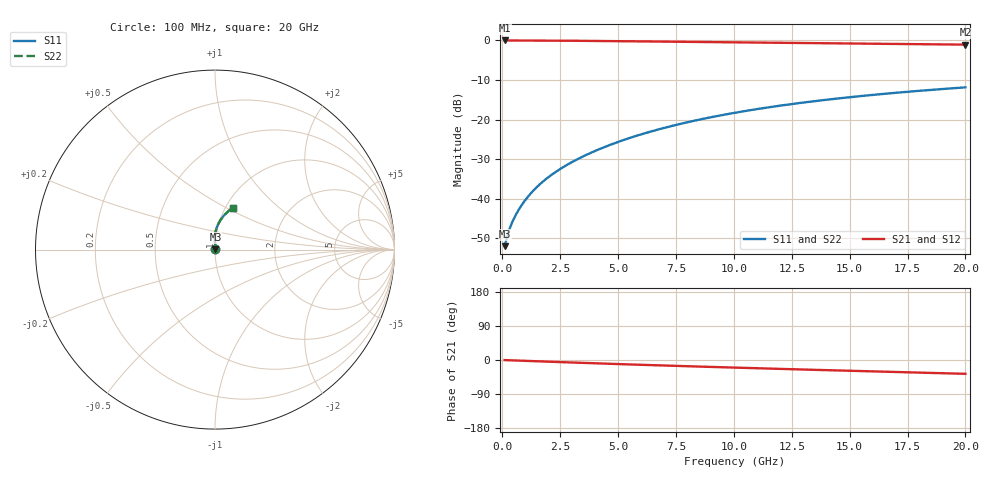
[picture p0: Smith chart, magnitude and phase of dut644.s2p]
! Touchstone file exported from HFSS 2024.1.0
!  File:  C:/UserFiles/LocalFiles/RDL_TSV_Batchsim/temp_RDL_top_644_1779781102.aedt
!  Generated:  03:40:25 PM May 26, 2026
!  Design:  RDL_top
!  Project:  temp_RDL_top_644_1779781102
!  Setup:  Setup1
!  Solution:  Sweep
! Variables:
!  dtsv = 10.80580581um
!  hbump = 3um
!  htsv = 86.95um
!  ldown = 100um
!  lrdl = 570.76um
!  p = 40
!  p1 = 45.16um
!  rhole = 1um
!  t = 450um
!  tdown = 3.915915916um
!  trdl = 3.72um
!  wdown = 15.38538539um
!  wrdl = 27.48um
# GHz S MA R 50.000000
! Terminal data exported
! Port[1] = Box2_T1
! Port[2] = Box2_T2
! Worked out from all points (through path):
!   200 points, 100 MHz to 20 GHz, reference 50 ohm
!   highest |S21| = -0.02 dB at 100 MHz (marker M1); lowest = -1.1 dB at 20 GHz (marker M2)
!   group delay of S21, straight-line fit = 4.99 ps
!   lowest |S11| = -51.9 dB at 100 MHz (marker M3), VSWR 1.01, Z = 50.2 + j0.118 ohm
!   |S11| at or under -10 dB: start of sweep to end of sweep
!   |S22| runs from -51.9 to -11.9 dB; largest |S21 - S12| = 6.5e-15
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0.1  0.002527 27.8  0.9978 -0.2  0.9978 -0.2  0.002527 27.8
! Gamma 0 0 0 0
! Port Impedance 50 0 50 0
0.2  0.003285 42.6  0.9975 -0.5  0.9975 -0.5  0.003285 42.6
0.3  0.004074 50.8  0.9973 -0.7  0.9973 -0.7  0.004074 50.8
0.4  0.004846 56.5  0.9971 -0.9  0.9971 -0.9  0.004846 56.5
0.5  0.005619 61.0  0.9969 -1.1  0.9969 -1.1  0.005619 61.0
0.8  0.008026 70.2  0.9964 -1.8  0.9964 -1.8  0.008027 70.2
1  0.009713 74.3  0.996 -2.3  0.996 -2.3  0.009713 74.3
1.2  0.01145 77.3  0.9956 -2.7  0.9956 -2.7  0.01145 77.3
1.7  0.016 82.5  0.9943 -3.8  0.9943 -3.8  0.016 82.5
2.2  0.0208 85.7  0.9926 -4.9  0.9926 -4.9  0.0208 85.7
2.8  0.02688 88.2  0.99 -6.2  0.99 -6.2  0.02688 88.2
3.5  0.03444 90.0  0.9865 -7.7  0.9865 -7.7  0.03443 90.0
4.2  0.04249 91.0  0.9826 -9.1  0.9826 -9.1  0.04248 91.0
5  0.05225 91.5  0.9776 -10.7  0.9776 -10.7  0.05223 91.4
5.9  0.06385 91.3  0.9717 -12.5  0.9717 -12.5  0.06381 91.2
6.8  0.07597 90.5  0.9656 -14.2  0.9656 -14.2  0.07593 90.5
8.4  0.09839 88.4  0.9547 -17.2  0.9547 -17.2  0.09833 88.4
10.1  0.1228 85.5  0.9433 -20.2  0.9433 -20.2  0.1227 85.5
11.7  0.1458 82.5  0.933 -23.0  0.933 -23.0  0.1456 82.4
13.4  0.1698 79.1  0.9224 -25.8  0.9224 -25.8  0.1696 79.1
16.7  0.2142 72.7  0.9028 -31.2  0.9028 -31.2  0.2141 72.6
20  0.2552 66.5  0.8839 -36.4  0.8839 -36.4  0.255 66.4
